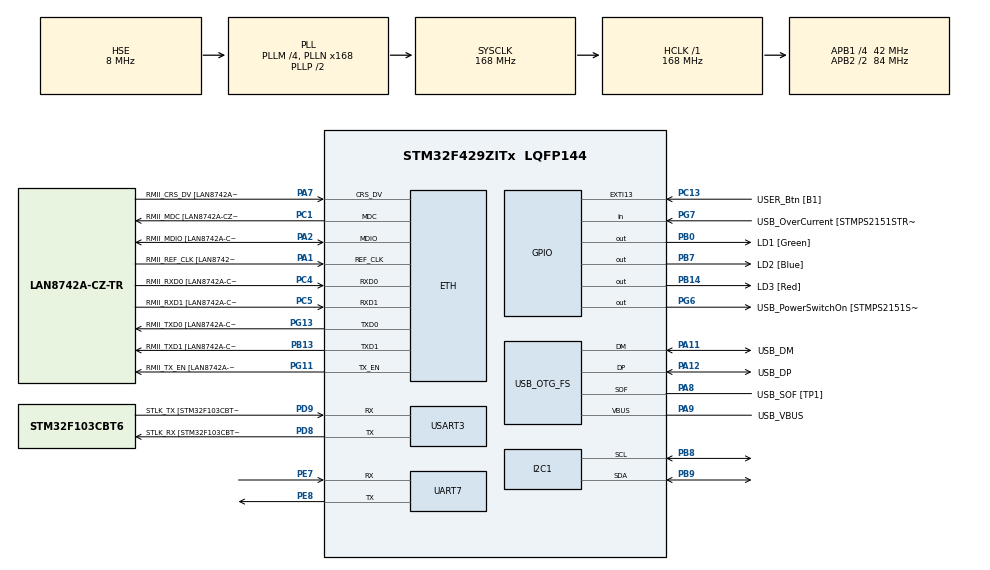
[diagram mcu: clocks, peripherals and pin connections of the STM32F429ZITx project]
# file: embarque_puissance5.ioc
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Mcu.Family=STM32F4
FREERTOS.Queues01=readToApp,16,uint16_t,0,Dynamic,NULL,NULL;appToDisplay,16,uint16_t,0,Dynamic,NULL,NULL
RCC.CortexFreq_Value=168000000
FREERTOS.BinarySemaphores01=semDisplay,Dynamic,NULL;semRead,Dynamic,NULL
PG6.Signal=GPIO_Output
PB14.GPIO_Label=LD3 [Red]
PG6.GPIO_Label=USB_PowerSwitchOn [STMPS2151STR_EN]
PA14.GPIO_Label=TCK
RCC.SYSCLKSourceVirtual=RCC_SYSCLKSOURCE_PLLCLK
PA11.Mode=Device_Only
PB0.GPIO_Label=LD1 [Green]
PC14/OSC32_IN.Mode=LSE-External-Oscillator
PC5.Mode=RMII
PC13.GPIO_Label=USER_Btn [B1]
PB13.GPIO_Label=RMII_TXD1 [LAN8742A-CZ-TR_TXD1]
PB13.Signal=ETH_TXD1
PG13.Signal=ETH_TXD0
PD9.Mode=Asynchronous
PG11.Signal=ETH_TX_EN
RCC.SYSCLKSource=RCC_SYSCLKSOURCE_PLLCLK
ProjectManager.StackSize=0x400
VP_FREERTOS_VS_CMSIS_V2.Mode=CMSIS_V2
PA12.Signal=USB_OTG_FS_DP
ETH.PHY_Value=0
PH0/OSC_IN.Mode=HSE-External-Clock-Source
RCC.HCLKFreq_Value=168000000
RCC.APB2TimFreq_Value=168000000
PH1/OSC_OUT.Signal=RCC_OSC_OUT
PD8.Signal=USART3_TX
RCC.AHBFreq_Value=168000000
RCC.HSE_VALUE=8000000
RCC.PLLMUL=RCC_PLL_MUL9
PC4.GPIO_Label=RMII_RXD0 [LAN8742A-CZ-TR_RXD0]
PA14.Mode=Serial_Wire
VP_SYS_VS_tim1.Mode=TIM1
PA10.GPIO_Label=USB_ID
PB7.Signal=GPIO_Output
PA8.Signal=USB_OTG_FS_SOF
PG13.Mode=RMII
ETH.PHY_Name=LAN8742A_PHY_ADDRESS
PH1/OSC_OUT.Mode=HSE-External-Clock-Source
PB7.GPIO_Label=LD2 [Blue]
PB9.Signal=I2C1_SDA
Mcu.Package=LQFP144
NVIC.TimeBase=TIM1_UP_TIM10_IRQn
PC14/OSC32_IN.Signal=RCC_OSC32_IN
PA2.GPIO_Label=RMII_MDIO [LAN8742A-CZ-TR_MDIO]
NVIC.TimeBaseIP=TIM1
PA10.Signal=USB_OTG_FS_ID
USB_OTG_FS.VirtualMode=Device_Only
RCC.APB2CLKDivider=RCC_HCLK_DIV2
RCC.APB1TimFreq_Value=84000000
PG11.GPIO_Label=RMII_TX_EN [LAN8742A-CZ-TR_TXEN]
PC5.Signal=ETH_RXD1
PB13.Mode=RMII
PE7.Signal=UART7_RX
PC4.Mode=RMII
FREERTOS.Tasks01=defaultTask,24,128,StartDefaultTask,Default,NULL,Dynamic,NULL,NULL;myTask01,8,128,StartTask01,Default,NULL,Dynamic,NULL,NULL;myTask02,8,128,StartTask02,Default,NULL,Dynamic,NULL,NULL;myTask03,8,128,StartTask03,Default,NULL,Dynamic,NULL,NULL
PA7.Mode=RMII
PG7.Signal=GPIO_Input
PD9.GPIO_Label=STLK_TX [STM32F103CBT6_PA2]
PC13.Signal=GPXTI13
PA9.GPIO_Label=USB_VBUS
PC4.Signal=ETH_RXD0
PA11.GPIO_Label=USB_DM
PD9.Signal=USART3_RX
UART7.VirtualMode=Asynchronous
RCC.APB1CLKDivider=RCC_HCLK_DIV4
PG13.GPIO_Label=RMII_TXD0 [LAN8742A-CZ-TR_TXD0]
ETH.PhyAddress=0
PA12.GPIO_Label=USB_DP
PD8.GPIO_Label=STLK_RX [STM32F103CBT6_PA3]
PE8.Mode=Asynchronous
PA13.Signal=SYS_JTMS-SWDIO
PA9.Mode=Activate_VBUS
PA8.GPIO_Label=USB_SOF [TP1]
ProjectManager.TargetToolchain=TrueSTUDIO
PB9.Mode=I2C
PA9.Signal=USB_OTG_FS_VBUS
RCC.USBFreq_Value=48000000
PD8.Mode=Asynchronous
PA1.Signal=ETH_REF_CLK
PB14.Signal=GPIO_Output
board=NUCLEO-F429ZI
RCC.VCOOutputFreq_Value=336000000
PH0/OSC_IN.Signal=RCC_OSC_IN
RCC.APB2Freq_Value=84000000
PA1.Mode=RMII
RCC.PRESCALERUSB=RCC_USBCLKSOURCE_PLL_DIV1_5
PE8.Signal=UART7_TX
PG7.GPIO_Label=USB_OverCurrent [STMPS2151STR_FAULT]
PA1.GPIO_Label=RMII_REF_CLK [LAN8742A-CZ-TR_REFCLK0]
PC1.GPIO_Label=RMII_MDC [LAN8742A-CZ-TR_MDC]
PA13.Mode=Serial_Wire
Mcu.Name=STM32F429ZITx
PA2.Signal=ETH_MDIO
PA13.GPIO_Label=TMS
RCC.APB2TimCLKDivider=2
RCC.48MHZClocksFreq_Value=48000000
RCC.SYSCLKFreq_VALUE=168000000
PE7.Mode=Asynchronous
ETH.MediaInterface=ETH_MEDIA_INTERFACE_RMII
PA7.GPIO_Label=RMII_CRS_DV [LAN8742A-CZ-TR_CRS_DV]
PA12.Mode=Device_Only
PC5.GPIO_Label=RMII_RXD1 [LAN8742A-CZ-TR_RXD1]
USART3.VirtualMode=VM_ASYNC
PC15/OSC32_OUT.Mode=LSE-External-Oscillator
PG11.Mode=RMII
PA11.Signal=USB_OTG_FS_DM
PA14.Signal=SYS_JTCK-SWCLK
ProjectManager.HeapSize=0x200
NVIC.TIM1_UP_TIM10_IRQn=true\:0\:0\:false\:false\:true\:false\:false\:true
FREERTOS.Timers01=timerAutoPlayShort,Callback01,osTimerOnce,Default,NULL,Dynamic,NULL;timerAutoPlayLong,Callback02,osTimerOnce,Default,NULL,Dynamic,NULL
RCC.HSI_VALUE=16000000
PH0/OSC_IN.GPIO_Label=MCO [STM32F103CBT6_PA8]
RCC.PLLQ=7
NVIC.PriorityGroup=NVIC_PRIORITYGROUP_4
RCC.PLLM=4
PB8.Mode=I2C
RCC.PLLN=168
PA2.Mode=RMII
PB8.Signal=I2C1_SCL
PC15/OSC32_OUT.Signal=RCC_OSC32_OUT
PA8.Mode=Activate_SOF_FS
RCC.APB1Freq_Value=42000000
PB0.Signal=GPIO_Output
PC1.Signal=ETH_MDC
PC1.Mode=RMII
PA7.Signal=ETH_CRS_DV

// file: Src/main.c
/* USER CODE BEGIN Header */
/**
 ******************************************************************************
 * @file           : main.c
 * @brief          : Main program body
 ******************************************************************************
 * @attention
 *
 * <h2><center>&copy; Copyright (c) 2020 STMicroelectronics.
 * All rights reserved.</center></h2>
 *
 * This software component is licensed by ST under BSD 3-Clause license,
 * the "License"; You may not use this file except in compliance with the
 * License. You may obtain a copy of the License at:
 *                        opensource.org/licenses/BSD-3-Clause
 *
 ******************************************************************************
 */
/* USER CODE END Header */

#include "main.h"
#include "cmsis_os.h"

/* USER CODE BEGIN Includes */
#include <ctype.h>
#include <string.h>

#include "gp4_game.h"
#include "leds_control.h"
#include "application.h"
#include "__debug.h"
#include "display.h"
#include "mydebug.h"

/* USER CODE END Includes */

ETH_HandleTypeDef heth;

I2C_HandleTypeDef hi2c1;

UART_HandleTypeDef huart7;
UART_HandleTypeDef huart3;

PCD_HandleTypeDef hpcd_USB_OTG_FS;

/* Definitions for defaultTask */
osThreadId_t defaultTaskHandle;
const osThreadAttr_t defaultTask_attributes = {
		.name = "defaultTask",
		.priority = (osPriority_t) osPriorityNormal,
		.stack_size = 128 * 4
};
/* Definitions for myTask01 */
osThreadId_t myTask01Handle;
const osThreadAttr_t myTask01_attributes = {
		.name = "myTask01",
		.priority = (osPriority_t) osPriorityNormal,
		.stack_size = 128 * 4
};
/* Definitions for myTask02 */
osThreadId_t myTask02Handle;
const osThreadAttr_t myTask02_attributes = {
		.name = "myTask02",
		.priority = (osPriority_t) osPriorityNormal,
		.stack_size = 128 * 4
};
/* Definitions for myTask03 */
osThreadId_t myTask03Handle;
const osThreadAttr_t myTask03_attributes = {
		.name = "myTask03",
		.priority = (osPriority_t) osPriorityNormal,
		.stack_size = 128 * 4
};
/* Definitions for readToApp */
osMessageQueueId_t readToAppHandle;
const osMessageQueueAttr_t readToApp_attributes = {
		.name = "readToApp"
};
/* Definitions for appToDisplay */
osMessageQueueId_t appToDisplayHandle;
const osMessageQueueAttr_t appToDisplay_attributes = {
		.name = "appToDisplay"
};
/* Definitions for timerAutoPlayShort */
osTimerId_t timerAutoPlayShortHandle;
const osTimerAttr_t timerAutoPlayShort_attributes = {
		.name = "timerAutoPlayShort"
};
/* Definitions for timerAutoPlayLong */
osTimerId_t timerAutoPlayLongHandle;
const osTimerAttr_t timerAutoPlayLong_attributes = {
		.name = "timerAutoPlayLong"
};
/* Definitions for semDisplay */
osSemaphoreId_t semDisplayHandle;
const osSemaphoreAttr_t semDisplay_attributes = {
		.name = "semDisplay"
};
/* Definitions for semRead */
osSemaphoreId_t semReadHandle;
const osSemaphoreAttr_t semRead_attributes = {
		.name = "semRead"
};
/* USER CODE BEGIN PV */

/* Definitions for UARTReception */
osMessageQueueId_t UARTReceptionHandle;
const osMessageQueueAttr_t UARTReception_attributes = {
		.name = "UARTReception"
};
/* Definitions for UARTSend */
osMessageQueueId_t UARTSendHandle;
const osMessageQueueAttr_t UARTSend_attributes = {
		.name = "UARTSend"
};

/* USER CODE END PV */

void SystemClock_Config(void);
static void MX_GPIO_Init(void);
static void MX_ETH_Init(void);
static void MX_USART3_UART_Init(void);
static void MX_USB_OTG_FS_PCD_Init(void);
static void MX_I2C1_Init(void);
static void MX_UART7_Init(void);
void StartDefaultTask(void *argument);
void StartTask01(void *argument);
void StartTask02(void *argument);
void StartTask03(void *argument);
void Callback01(void *argument);
void Callback02(void *argument);

int main(void)
{

	/* MCU Configuration--------------------------------------------------------*/

	/* Reset of all peripherals, Initializes the Flash interface and the Systick. */
	HAL_Init();

	/* Configure the system clock */
	SystemClock_Config();

	/* Initialize all configured peripherals */
	MX_GPIO_Init();
	//	MX_ETH_Init();
	MX_USART3_UART_Init();
	//	MX_USB_OTG_FS_PCD_Init();
	MX_I2C1_Init();
	MX_UART7_Init();

	/* Init scheduler */
	osKernelInitialize();

	/* Create the semaphores(s) */
	/* creation of semDisplay */
	semDisplayHandle = osSemaphoreNew(1, 1, &semDisplay_attributes);

	/* creation of semRead */
	semReadHandle = osSemaphoreNew(1, 1, &semRead_attributes);

	/* Create the timer(s) */
	/* creation of timerAutoPlayShort */
	timerAutoPlayShortHandle = osTimerNew(Callback01, osTimerOnce, NULL, &timerAutoPlayShort_attributes);

	/* creation of timerAutoPlayLong */
	timerAutoPlayLongHandle = osTimerNew(Callback02, osTimerOnce, NULL, &timerAutoPlayLong_attributes);

	/* Create the queue(s) */
	/* creation of readToApp */
	readToAppHandle = osMessageQueueNew (16, sizeof(data_msg), &readToApp_attributes);

	/* creation of appToDisplay */
	appToDisplayHandle = osMessageQueueNew (16, sizeof(data_msg), &appToDisplay_attributes);

	/* Create the thread(s) */
	/* creation of defaultTask */
	defaultTaskHandle = osThreadNew(StartDefaultTask, NULL, &defaultTask_attributes);

	/* creation of myTask01 */
	myTask01Handle = osThreadNew(StartTask01, NULL, &myTask01_attributes);

	/* creation of myTask02 */
	myTask02Handle = osThreadNew(StartTask02, NULL, &myTask02_attributes);

	/* creation of myTask03 */
	myTask03Handle = osThreadNew(StartTask03, NULL, &myTask03_attributes);

	/* USER CODE BEGIN RTOS_THREADS */

	/* creation of uart queue */

	UARTReceptionHandle = osMessageQueueNew (100, 5, &UARTReception_attributes);

	UARTSendHandle = osMessageQueueNew (100, 10, &UARTSend_attributes);
	/* add threads, ... */
	/* USER CODE END RTOS_THREADS */

	/* Start scheduler */
	osKernelStart();

	/* We should never get here as control is now taken by the scheduler */
	/* Infinite loop */

}

void SystemClock_Config(void)
{
	RCC_OscInitTypeDef RCC_OscInitStruct = {0};
	RCC_ClkInitTypeDef RCC_ClkInitStruct = {0};

	/** Configure the main internal regulator output voltage
	 */
	__HAL_RCC_PWR_CLK_ENABLE();
	__HAL_PWR_VOLTAGESCALING_CONFIG(PWR_REGULATOR_VOLTAGE_SCALE1);
	/** Initializes the CPU, AHB and APB busses clocks
	 */
	RCC_OscInitStruct.OscillatorType = RCC_OSCILLATORTYPE_HSE;
	RCC_OscInitStruct.HSEState = RCC_HSE_BYPASS;
	RCC_OscInitStruct.PLL.PLLState = RCC_PLL_ON;
	RCC_OscInitStruct.PLL.PLLSource = RCC_PLLSOURCE_HSE;
	RCC_OscInitStruct.PLL.PLLM = 4;
	RCC_OscInitStruct.PLL.PLLN = 168;
	RCC_OscInitStruct.PLL.PLLP = RCC_PLLP_DIV2;
	RCC_OscInitStruct.PLL.PLLQ = 7;
	if (HAL_RCC_OscConfig(&RCC_OscInitStruct) != HAL_OK)
	{
		Error_Handler();
	}
	/** Initializes the CPU, AHB and APB busses clocks
	 */
	RCC_ClkInitStruct.ClockType = RCC_CLOCKTYPE_HCLK|RCC_CLOCKTYPE_SYSCLK
			|RCC_CLOCKTYPE_PCLK1|RCC_CLOCKTYPE_PCLK2;
	RCC_ClkInitStruct.SYSCLKSource = RCC_SYSCLKSOURCE_PLLCLK;
	RCC_ClkInitStruct.AHBCLKDivider = RCC_SYSCLK_DIV1;
	RCC_ClkInitStruct.APB1CLKDivider = RCC_HCLK_DIV4;
	RCC_ClkInitStruct.APB2CLKDivider = RCC_HCLK_DIV2;

	if (HAL_RCC_ClockConfig(&RCC_ClkInitStruct, FLASH_LATENCY_5) != HAL_OK)
	{
		Error_Handler();
	}
}

static void MX_ETH_Init(void)
{

	heth.Instance = ETH;
	heth.Init.AutoNegotiation = ETH_AUTONEGOTIATION_ENABLE;
	heth.Init.PhyAddress = LAN8742A_PHY_ADDRESS;
	heth.Init.MACAddr[0] =   0x00;
	heth.Init.MACAddr[1] =   0x80;
	heth.Init.MACAddr[2] =   0xE1;
	heth.Init.MACAddr[3] =   0x00;
	heth.Init.MACAddr[4] =   0x00;
	heth.Init.MACAddr[5] =   0x00;
	heth.Init.RxMode = ETH_RXPOLLING_MODE;
	heth.Init.ChecksumMode = ETH_CHECKSUM_BY_HARDWARE;
	heth.Init.MediaInterface = ETH_MEDIA_INTERFACE_RMII;

	if (HAL_ETH_Init(&heth) != HAL_OK)
	{
		Error_Handler();
	}

}

static void MX_I2C1_Init(void)
{

	hi2c1.Instance = I2C1;
	hi2c1.Init.ClockSpeed = 100000;
	hi2c1.Init.DutyCycle = I2C_DUTYCYCLE_2;
	hi2c1.Init.OwnAddress1 = 0;
	hi2c1.Init.AddressingMode = I2C_ADDRESSINGMODE_7BIT;
	hi2c1.Init.DualAddressMode = I2C_DUALADDRESS_DISABLE;
	hi2c1.Init.OwnAddress2 = 0;
	hi2c1.Init.GeneralCallMode = I2C_GENERALCALL_DISABLE;
	hi2c1.Init.NoStretchMode = I2C_NOSTRETCH_DISABLE;
	if (HAL_I2C_Init(&hi2c1) != HAL_OK)
	{
		Error_Handler();
	}
	/** Configure Analogue filter
	 */
	if (HAL_I2CEx_ConfigAnalogFilter(&hi2c1, I2C_ANALOGFILTER_ENABLE) != HAL_OK)
	{
		Error_Handler();
	}
	/** Configure Digital filter
	 */
	if (HAL_I2CEx_ConfigDigitalFilter(&hi2c1, 0) != HAL_OK)
	{
		Error_Handler();
	}

}

static void MX_UART7_Init(void)
{

	huart7.Instance = UART7;
	huart7.Init.BaudRate = 115200;
	huart7.Init.WordLength = UART_WORDLENGTH_8B;
	huart7.Init.StopBits = UART_STOPBITS_1;
	huart7.Init.Parity = UART_PARITY_NONE;
	huart7.Init.Mode = UART_MODE_TX_RX;
	huart7.Init.HwFlowCtl = UART_HWCONTROL_NONE;
	huart7.Init.OverSampling = UART_OVERSAMPLING_16;
	if (HAL_UART_Init(&huart7) != HAL_OK)
	{
		Error_Handler();
	}

}

static void MX_USART3_UART_Init(void)
{

	huart3.Instance = USART3;
	huart3.Init.BaudRate = 115200;
	huart3.Init.WordLength = UART_WORDLENGTH_8B;
	huart3.Init.StopBits = UART_STOPBITS_1;
	huart3.Init.Parity = UART_PARITY_NONE;
	huart3.Init.Mode = UART_MODE_TX_RX;
	huart3.Init.HwFlowCtl = UART_HWCONTROL_NONE;
	huart3.Init.OverSampling = UART_OVERSAMPLING_16;
	if (HAL_UART_Init(&huart3) != HAL_OK)
	{
		Error_Handler();
	}

}

static void MX_USB_OTG_FS_PCD_Init(void)
{

	hpcd_USB_OTG_FS.Instance = USB_OTG_FS;
	hpcd_USB_OTG_FS.Init.dev_endpoints = 4;
	hpcd_USB_OTG_FS.Init.speed = PCD_SPEED_FULL;
	hpcd_USB_OTG_FS.Init.dma_enable = DISABLE;
	hpcd_USB_OTG_FS.Init.phy_itface = PCD_PHY_EMBEDDED;
	hpcd_USB_OTG_FS.Init.Sof_enable = ENABLE;
	hpcd_USB_OTG_FS.Init.low_power_enable = DISABLE;
	hpcd_USB_OTG_FS.Init.lpm_enable = DISABLE;
	hpcd_USB_OTG_FS.Init.vbus_sensing_enable = ENABLE;
	hpcd_USB_OTG_FS.Init.use_dedicated_ep1 = DISABLE;
	if (HAL_PCD_Init(&hpcd_USB_OTG_FS) != HAL_OK)
	{
		Error_Handler();
	}

}

static void MX_GPIO_Init(void)
{
	GPIO_InitTypeDef GPIO_InitStruct = {0};

	/* GPIO Ports Clock Enable */
	__HAL_RCC_GPIOC_CLK_ENABLE();
	__HAL_RCC_GPIOH_CLK_ENABLE();
	__HAL_RCC_GPIOA_CLK_ENABLE();
	__HAL_RCC_GPIOB_CLK_ENABLE();
	__HAL_RCC_GPIOE_CLK_ENABLE();
	__HAL_RCC_GPIOD_CLK_ENABLE();
	__HAL_RCC_GPIOG_CLK_ENABLE();

	/*Configure GPIO pin Output Level */
	HAL_GPIO_WritePin(GPIOB, LD1_Pin|LD3_Pin|LD2_Pin, GPIO_PIN_RESET);

	/*Configure GPIO pin Output Level */
	HAL_GPIO_WritePin(USB_PowerSwitchOn_GPIO_Port, USB_PowerSwitchOn_Pin, GPIO_PIN_RESET);

	/*Configure GPIO pin : USER_Btn_Pin */
	GPIO_InitStruct.Pin = USER_Btn_Pin;
	GPIO_InitStruct.Mode = GPIO_MODE_IT_RISING;
	GPIO_InitStruct.Pull = GPIO_NOPULL;
	HAL_GPIO_Init(USER_Btn_GPIO_Port, &GPIO_InitStruct);

	/*Configure GPIO pins : LD1_Pin LD3_Pin LD2_Pin */
	GPIO_InitStruct.Pin = LD1_Pin|LD3_Pin|LD2_Pin;
	GPIO_InitStruct.Mode = GPIO_MODE_OUTPUT_PP;
	GPIO_InitStruct.Pull = GPIO_NOPULL;
	GPIO_InitStruct.Speed = GPIO_SPEED_FREQ_LOW;
	HAL_GPIO_Init(GPIOB, &GPIO_InitStruct);

	/*Configure GPIO pin : USB_PowerSwitchOn_Pin */
	GPIO_InitStruct.Pin = USB_PowerSwitchOn_Pin;
	GPIO_InitStruct.Mode = GPIO_MODE_OUTPUT_PP;
	GPIO_InitStruct.Pull = GPIO_NOPULL;
	GPIO_InitStruct.Speed = GPIO_SPEED_FREQ_LOW;
	HAL_GPIO_Init(USB_PowerSwitchOn_GPIO_Port, &GPIO_InitStruct);

	/*Configure GPIO pin : USB_OverCurrent_Pin */
	GPIO_InitStruct.Pin = USB_OverCurrent_Pin;
	GPIO_InitStruct.Mode = GPIO_MODE_INPUT;
	GPIO_InitStruct.Pull = GPIO_NOPULL;
	HAL_GPIO_Init(USB_OverCurrent_GPIO_Port, &GPIO_InitStruct);

}

/* USER CODE BEGIN 4 */

//void extract_rtc_data(){
//	HAL_I2C_Master_Transmit(&hi2c1, addr, (uint8_t*)buffer, size, timeout);
//
//}

/* USER CODE END 4 */

void StartDefaultTask(void *argument)
{
	/* USER CODE BEGIN 5 */
	/* Infinite loop */

	//-------------- display debug msg--------------------------------------
//	int size_of_debug_frame = 31;
//	char debug_message[] = "dEngage le jeu que je le gagne\n";
//	char debug_frame[size_of_debug_frame];
//	//int change_count = 0;
//	memcpy((uint8_t*)debug_frame, debug_message, size_of_debug_frame);
//	HAL_UART_Transmit(&huart7, (uint8_t*)debug_message, size_of_debug_frame, 10);

	//----------------------------------------------------------------------

	//-------------- recup data from RTC--------------------------------------
//	uint8_t buffer[100] = { 0 };
//	uint8_t p_registre = 0x00;
//	uint16_t addr = 0xD0;
//	//uint8_t *pData;
//	uint16_t size = 8;
//	uint32_t timeout = 1000;
//	HAL_StatusTypeDef status;
//	uint8_t clock_init = 0x00;
//	HAL_I2C_Mem_Write(&hi2c1,addr, 0x00, 1, &clock_init, 1, 100);
	//----------------------------------------------------------------------

	//	HAL_I2C_Master_Transmit(&hi2c1, addr, &p_registre, 1, timeout);
	//	status = HAL_I2C_Master_Receive(&hi2c1, addr, &buffer, size, timeout);
	//	osDelay(2);

	uint16_t addr = 0xD0;
//	uint8_t minute_init = 37;
//	uint8_t hour_init = 17;
//	uint8_t date_init = 22;
//	uint8_t month_init = 17;
//	uint8_t year_init = 32;

//	HAL_I2C_Mem_Write(&hi2c1,addr, 0x01, 1, &minute_init, 1, 100);
//	HAL_I2C_Mem_Write(&hi2c1,addr, 0x02, 1, &hour_init, 1, 100);
//	HAL_I2C_Mem_Write(&hi2c1,addr, 0x04, 1, &date_init, 1, 100);
//	HAL_I2C_Mem_Write(&hi2c1,addr, 0x05, 1, &month_init, 1, 100);
//	HAL_I2C_Mem_Write(&hi2c1,addr, 0x06, 1, &year_init, 1, 100);

	char total_init [6];
	total_init[0] = 00;
	total_init[1]= 18;
	total_init[2] = 00;
	total_init[3] = 22;
	total_init[4] = 17;
	total_init[5] = 32;
	HAL_I2C_Mem_Write(&hi2c1,addr, 0x01, 1, (uint8_t*)total_init, 6, 100);

	void display_debug_msg(char debug_msg[], int size_of_debug_msg){
		//char debug_frame[size_of_debug_msg];
		//int change_count = 0;

		HAL_UART_Transmit(&huart3, (uint8_t*)debug_msg, size_of_debug_msg, 10);
	}

	void extract_complete_date(){
		//-------------- recup data from RTC--------------------------------------
		uint8_t buffer[100] = { 0 };
		uint8_t p_registre = 0x00;
		uint16_t addr = 0xD0;
		//uint8_t *pData;
		uint16_t size = 8;
		uint32_t timeout = 1000;
		HAL_StatusTypeDef status;
		//uint8_t clock_init = 0x00;
		//HAL_I2C_Mem_Write(&hi2c1,addr, 0x00, 1, &clock_init, 1, 100);

		HAL_I2C_Master_Transmit(&hi2c1, addr, &p_registre, 1, timeout);
		status = HAL_I2C_Master_Receive(&hi2c1, addr, (uint8_t*) buffer, size, timeout);
		osDelay(2);

		uint8_t sec_diz;
		uint8_t sec_unit;
		uint8_t min_diz;
		uint8_t min_unit;
		uint8_t hour_diz;
		uint8_t hour_unit;
		uint8_t date_diz;
		uint8_t date_unit;
		uint8_t month_diz;
		uint8_t month_unit;
		uint8_t year_diz;
		uint8_t year_unit;

		sec_diz = (buffer[0] & 0x70)>>4;
		sec_unit = (buffer[0] & 0x0F);
		min_diz = (buffer[1] & 0x70)>>4;
		min_unit = (buffer[1] & 0x0F);
		hour_diz = (buffer[2] & 0x10)>>4;
		hour_unit = (buffer[2] & 0x0F);
		date_diz = (buffer[4] & 0x30)>>4;
		date_unit = (buffer[4] & 0x0F);
		month_diz = (buffer[5] & 0x10)>>4;
		month_unit = (buffer[5] & 0x0F);
		year_diz = (buffer[6] & 0xF0)>>4;
		year_unit = (buffer[6] & 0x0F);

		int size_of_raw_date = 21;
		char raw_date [size_of_raw_date];

		raw_date[0] = 'd';
		raw_date[1] = date_diz + 48;
		raw_date[2] = date_unit + 48;
		raw_date[3] = ':';
		raw_date[4] = month_diz + 48;
		raw_date[5] = month_unit + 48;
		raw_date[6] = ':';
		raw_date[7] = year_diz + 48;
		raw_date[8] = year_unit + 48;
		raw_date[9] = ' ';
		raw_date[10] = '-';
		raw_date[11] = ' ';
		raw_date[12] = hour_diz + 48;
		raw_date[13] = hour_unit + 48;
		raw_date[14] = ':';
		raw_date[15] = min_diz + 48;
		raw_date[16] = min_unit + 48;
		raw_date[17] = ':';
		raw_date[18] = sec_diz + 48;
		raw_date[19] = sec_unit + 48;
		raw_date[20] = '\n';

		display_debug_msg(raw_date, size_of_raw_date);

	}
	extract_complete_date();
	unsigned char UARTmessageToSend[SIZE_OF_LED_COMMAND_BUFFER];
	unsigned char UARTmessageReceived[SIZE_OF_PLAYER_COMMAND_BUFFER];
	for(;;)
	{
		if (osMessageQueueGetCount(UARTSendHandle)){
			if(osMessageQueueGet(UARTSendHandle, UARTmessageToSend, 0, 10)==osOK){
				HAL_UART_Transmit(&huart7, UARTmessageToSend, SIZE_OF_LED_COMMAND_BUFFER, 10);
				osDelay(10);
			}
		}
		if(HAL_UART_Receive(&huart7, UARTmessageReceived,SIZE_OF_PLAYER_COMMAND_BUFFER, 10)==HAL_OK){
			osMessageQueuePut(UARTReceptionHandle, UARTmessageReceived, 1, 10);
		}

		//----------------Modification d'un tableau de charactere et affichage dans la fenetre de débug du simu----------
		//		int size_of_debug_frame = 31;
		//		char debug_message[] = "dEngage le jeu que je le gagne\n";
		//		char debug_frame[size_of_debug_frame];
		//		//int change_count = 0;
		//		memcpy((uint8_t*)debug_frame, debug_message, size_of_debug_frame);
		//		HAL_UART_Transmit(&huart7, (uint8_t*)debug_message, size_of_debug_frame, 10);
		//
		//		if(HAL_GPIO_ReadPin(USER_Btn_GPIO_Port, USER_Btn_Pin)){
		//			if(change_count == 0)
		//			{
		//				debug_frame_to_upper(truc, size_of_debug_frame);
		//				HAL_UART_Transmit(&huart7, (uint8_t*)truc, size_of_debug_frame, 10);
		//				change_count = 1;
		//			}
		//			else if(change_count == 1)
		//			{
		//				debug_frame_to_lower(truc, size_of_debug_frame);
		//				HAL_UART_Transmit(&huart7, (uint8_t*)truc, size_of_debug_frame, 10);
		//				change_count = 2;
		//			}
		//			else if(change_count == 2)
		//			{
		//				debug_frame_reverse(truc, size_of_debug_frame);
		//				HAL_UART_Transmit(&huart7, (uint8_t*)truc, size_of_debug_frame, 10);
		//				debug_frame_reverse(truc, size_of_debug_frame);
		//				change_count = 0;
		//			}
		//
		//		}
	}
	/* USER CODE END 5 */
}

void StartTask01(void *argument)
{
	/* USER CODE BEGIN StartTask01 */

	debug_pr_fn(1,"read()entrée thread read\n");
	char recept_tab[5]={0};
	data_msg request;

	/* Infinite loop */
	for(;;)
	{
		//osDelay(1);
		if (readbutton(recept_tab, 5) == LCRC_OK) {
			debug_pr_fn(1,"read()input = (%d %d %d %d)\n", recept_tab[0], recept_tab[1], recept_tab[2], recept_tab[3]);
			if (recept_tab[3] == 100) {
				request.type = MSG_PLAYER;

				//if (recept_tab[1] == 49) {
				if (recept_tab[1] == '1') {
					request.params.player.player = PLAYER_1;
				}
				//if (recept_tab[1] == 50) {
				else if (recept_tab[1] == '2') {
					request.params.player.player = PLAYER_2;
				}
				else if (recept_tab[1] == '3') {
					int8_t player = get_active_player();
					if (player == NO_PLAYER){
						player = PLAYER_1;
					}
					request.params.player.player = player;
				}
				//if (recept_tab[2] == 117) { //vers le haut
				if (recept_tab[2] == 'u') { //vers le haut
					debug_pr_fn(2,"read_button():condition \"haut\"\n");
					request.params.player.direction = UP;
				}
				//if (recept_tab[2] == 114 ) {	// vers le droite
				else if (recept_tab[2] == 'r' ) {	// vers le droite
					debug_pr_fn(2,"read_button():condition \"droite\" \n");
					request.params.player.direction = RIGHT;
				}
				//if (recept_tab[2] == 100 ) { //vers le bas
				else if (recept_tab[2] == 'd') { //vers le bas
					debug_pr_fn(2,"read_button():condition \"bas\"\n");
					request.params.player.direction = DOWN;
				}
				//if (recept_tab[2] == 108 ) { //vers le gauche
				else if (recept_tab[2] == 'l' ) { //vers le gauche
					debug_pr_fn(2,"read_button():condition \"gauche\"\n");
					request.params.player.direction = LEFT;
				}
				debug_pr_fn(1,"read() send to queue = OK\n");
				SendMessage(LIST_READ, &request, sizeof(struct data_msg));
			}
		}
	}
}

/* USER CODE END StartTask01 */

void StartTask02(void *argument)
{
	/* USER CODE BEGIN StartTask02 */
	/* Infinite loop */
	for(;;)
	{
		applicationV2();
	}
	/* USER CODE END StartTask02 */
}

void StartTask03(void *argument)
{
	/* USER CODE BEGIN StartTask03 */
	/* Infinite loop */
	for(;;)
	{
		display();
	}
	/* USER CODE END StartTask03 */
}

/* Callback01 function */
void Callback01(void *argument)
{
}

/* Callback02 function */
void Callback02(void *argument)
{
}

void HAL_TIM_PeriodElapsedCallback(TIM_HandleTypeDef *htim)
{
	if (htim->Instance == TIM1) {
		HAL_IncTick();
	}
}

void Error_Handler(void)
{
}

/************************ (C) COPYRIGHT STMicroelectronics *****END OF FILE****/
